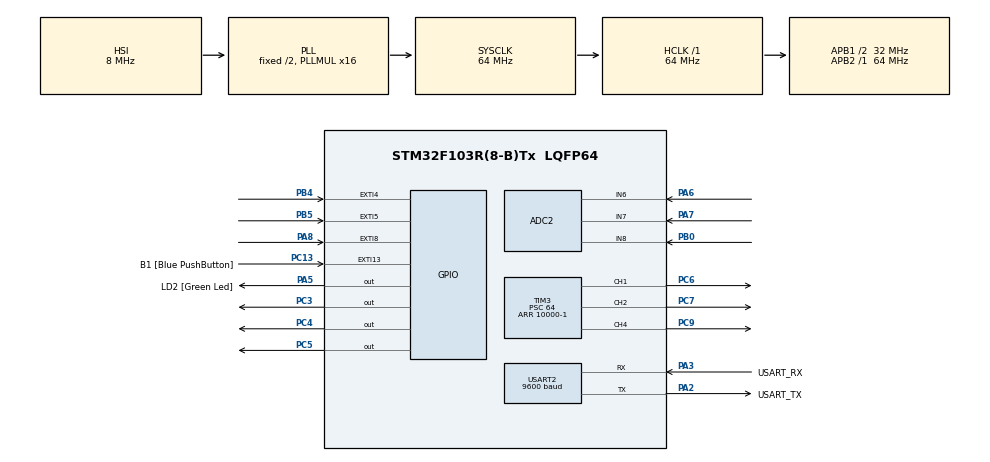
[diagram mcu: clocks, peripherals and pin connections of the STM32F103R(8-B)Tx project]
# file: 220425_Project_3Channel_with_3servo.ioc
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ADC2.Channel-0\#ChannelRegularConversion=ADC_CHANNEL_6
ADC2.Channel-1\#ChannelRegularConversion=ADC_CHANNEL_7
ADC2.Channel-2\#ChannelRegularConversion=ADC_CHANNEL_8
ADC2.DiscontinuousConvMode=ENABLE
ADC2.NbrOfConversion=3
ADC2.NbrOfConversionFlag=1
ADC2.Rank-0\#ChannelRegularConversion=1
ADC2.Rank-1\#ChannelRegularConversion=2
ADC2.Rank-2\#ChannelRegularConversion=3
ADC2.SamplingTime-0\#ChannelRegularConversion=ADC_SAMPLETIME_239CYCLES_5
ADC2.SamplingTime-1\#ChannelRegularConversion=ADC_SAMPLETIME_239CYCLES_5
ADC2.SamplingTime-2\#ChannelRegularConversion=ADC_SAMPLETIME_239CYCLES_5
Mcu.Family=STM32F1
Mcu.Name=STM32F103R(8-B)Tx
Mcu.Package=LQFP64
NVIC.EXTI15_10_IRQn=true\:0\:0\:false\:false\:true\:true\:true\:true
NVIC.EXTI4_IRQn=true\:0\:0\:false\:false\:true\:true\:true\:true
NVIC.EXTI9_5_IRQn=true\:0\:0\:false\:false\:true\:true\:true\:true
NVIC.PriorityGroup=NVIC_PRIORITYGROUP_4
PA13.GPIO_Label=TMS
PA13.Mode=Serial_Wire
PA13.Signal=SYS_JTMS-SWDIO
PA14.GPIO_Label=TCK
PA14.Mode=Serial_Wire
PA14.Signal=SYS_JTCK-SWCLK
PA2.GPIO_Label=USART_TX
PA2.GPIO_Mode=GPIO_MODE_AF_PP
PA2.GPIO_PuPd=GPIO_NOPULL
PA2.GPIO_Speed=GPIO_SPEED_FREQ_LOW
PA2.Mode=Asynchronous
PA2.Signal=USART2_TX
PA3.GPIO_Label=USART_RX
PA3.GPIO_Mode=GPIO_MODE_AF_PP
PA3.GPIO_PuPd=GPIO_NOPULL
PA3.GPIO_Speed=GPIO_SPEED_FREQ_LOW
PA3.Mode=Asynchronous
PA3.Signal=USART2_RX
PA5.GPIO_Label=LD2 [Green Led]
PA5.GPIO_ModeDefaultOutputPP=GPIO_MODE_OUTPUT_PP
PA5.GPIO_PuPd=GPIO_NOPULL
PA5.GPIO_Speed=GPIO_SPEED_FREQ_LOW
PA5.Signal=GPIO_Output
PA6.Signal=ADCx_IN6
PA7.Signal=ADCx_IN7
PA8.Signal=GPXTI8
PB0.Signal=ADCx_IN8
PB3.GPIO_Label=SWO
PB3.Signal=SYS_JTDO-TRACESWO
PB4.Signal=GPXTI4
PB5.Signal=GPXTI5
PC13-TAMPER-RTC.GPIO_Label=B1 [Blue PushButton]
PC13-TAMPER-RTC.GPIO_PuPd=GPIO_NOPULL
PC13-TAMPER-RTC.Signal=GPXTI13
PC14-OSC32_IN.Mode=LSE-External-Oscillator
PC14-OSC32_IN.Signal=RCC_OSC32_IN
PC15-OSC32_OUT.Mode=LSE-External-Oscillator
PC15-OSC32_OUT.Signal=RCC_OSC32_OUT
PC3.Signal=GPIO_Output
PC4.Signal=GPIO_Output
PC5.Signal=GPIO_Output
PC6.Signal=S_TIM3_CH1
PC7.Signal=S_TIM3_CH2
PC9.Signal=S_TIM3_CH4
PD0-OSC_IN.Mode=HSE-External-Clock-Source
PD0-OSC_IN.Signal=RCC_OSC_IN
PD1-OSC_OUT.Mode=HSE-External-Clock-Source
PD1-OSC_OUT.Signal=RCC_OSC_OUT
ProjectManager.HeapSize=0x200
ProjectManager.StackSize=0x400
ProjectManager.TargetToolchain=STM32CubeIDE
RCC.ADCPresc=RCC_ADCPCLK2_DIV8
RCC.AHBFreq_Value=64000000
RCC.APB1CLKDivider=RCC_HCLK_DIV2
RCC.APB1Freq_Value=32000000
RCC.APB1TimFreq_Value=64000000
RCC.APB2Freq_Value=64000000
RCC.APB2TimFreq_Value=64000000
RCC.HCLKFreq_Value=64000000
RCC.PLLMUL=RCC_PLL_MUL16
RCC.RTCClockSelection=RCC_RTCCLKSOURCE_LSE
RCC.SYSCLKFreq_VALUE=64000000
RCC.SYSCLKSource=RCC_SYSCLKSOURCE_PLLCLK
RCC.USBFreq_Value=64000000
SH.ADCx_IN6.0=ADC2_IN6,IN6
SH.ADCx_IN7.0=ADC2_IN7,IN7
SH.ADCx_IN8.0=ADC2_IN8,IN8
SH.S_TIM3_CH1.0=TIM3_CH1,PWM Generation1 CH1
SH.S_TIM3_CH2.0=TIM3_CH2,PWM Generation2 CH2
SH.S_TIM3_CH4.0=TIM3_CH4,PWM Generation4 CH4
TIM3.Channel-PWM\ Generation1\ CH1=TIM_CHANNEL_1
TIM3.Channel-PWM\ Generation2\ CH2=TIM_CHANNEL_2
TIM3.Channel-PWM\ Generation4\ CH4=TIM_CHANNEL_4
TIM3.Period=10000-1
TIM3.Prescaler=64
TIM3.Pulse-PWM\ Generation1\ CH1=1500
TIM3.Pulse-PWM\ Generation2\ CH2=1500
TIM3.Pulse-PWM\ Generation4\ CH4=1500
USART2.BaudRate=9600
USART2.VirtualMode=VM_ASYNC
board=NUCLEO-F103RB

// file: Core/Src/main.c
/* USER CODE BEGIN Header */
/**
  ******************************************************************************
  * @file           : main.c
  * @brief          : Main program body
  ******************************************************************************
  * @attention
  *
  * Copyright (c) 2022 STMicroelectronics.
  * All rights reserved.
  *
  * This software is licensed under terms that can be found in the LICENSE file
  * in the root directory of this software component.
  * If no LICENSE file comes with this software, it is provided AS-IS.
  *
  ******************************************************************************
  */
/* USER CODE END Header */
#include "main.h"

/* USER CODE BEGIN Includes */
#include "stdio.h"
/* USER CODE END Includes */

/* USER CODE BEGIN PTD */
#ifdef __GNUC__
/* With GCC, small printf (option LD Linker->Libraries->Small printf
   set to 'Yes') calls __io_putchar() */
#define PUTCHAR_PROTOTYPE int __io_putchar(int ch)
#else
#define PUTCHAR_PROTOTYPE int fputc(int ch, FILE *f)
#endif /* __GNUC__ */
/* USER CODE END PTD */

 ADC_HandleTypeDef hadc2;

TIM_HandleTypeDef htim3;

UART_HandleTypeDef huart2;

void SystemClock_Config(void);
static void MX_GPIO_Init(void);
static void MX_USART2_UART_Init(void);
static void MX_ADC2_Init(void);
static void MX_TIM3_Init(void);

/* USER CODE BEGIN 0 */
int state[3][1000] = {0};
int compare = 0;
int idx = 0;
int angle1 = 0;
int angle2 = 0;
int angle3 = 0;
int preVal1;
int preVal2;
int preVal3;

/* USER CODE END 0 */

int main(void)
{
  /* USER CODE BEGIN 1 */
	uint32_t adcResult1 = 0;
	uint32_t adcResult2 = 0;
	uint32_t adcResult3 = 0;
  /* USER CODE END 1 */

  /* MCU Configuration--------------------------------------------------------*/

  /* Reset of all peripherals, Initializes the Flash interface and the Systick. */
  HAL_Init();

  /* Configure the system clock */
  SystemClock_Config();

  /* Initialize all configured peripherals */
  MX_GPIO_Init();
  MX_USART2_UART_Init();
  MX_ADC2_Init();
  MX_TIM3_Init();
  /* USER CODE BEGIN 2 */
  HAL_TIM_PWM_Start(&htim3, TIM_CHANNEL_2);
  HAL_TIM_PWM_Start(&htim3, TIM_CHANNEL_1);
  HAL_TIM_PWM_Start(&htim3, TIM_CHANNEL_4);
  /* USER CODE END 2 */

  /* Infinite loop */
  /* USER CODE BEGIN WHILE */
  while (1)
    {
  	  	  if(compare ==0){
  	  		  if(state[0][0] >0){
  	  			  for(int jdx= 0 ; jdx<3; jdx++){

  	  				  for(int kdx = 0; kdx<1000; kdx++){
  	  					state[jdx][kdx] = -1;
  	  				  }
  	  			  }
  	  			  idx = 0;
  	  		  }

  	  		  HAL_ADC_Start(&hadc2);
  	  		  HAL_ADC_PollForConversion(&hadc2, 100);
  	  		  int nowVal1 = HAL_ADC_GetValue(&hadc2)*20/12;
  	  		  if(nowVal1 >=preVal1+ 10 ||nowVal1 <=preVal1- 10) 	preVal1 = HAL_ADC_GetValue(&hadc2)*20/12;
  	  		  adcResult1 = preVal1;

  	  		  HAL_ADC_Start(&hadc2);
  	  		  HAL_ADC_PollForConversion(&hadc2, 100);
  	  		  int nowVal2 = HAL_ADC_GetValue(&hadc2)*20/12;
  	  		  if(nowVal2 >=preVal2+ 10 ||nowVal2 <=preVal2- 10)  	preVal2 = HAL_ADC_GetValue(&hadc2)*20/12;
  	  		  adcResult2 = preVal2;

  	  		  HAL_ADC_Start(&hadc2);
  	  		  HAL_ADC_PollForConversion(&hadc2, 100);
  	  		  int nowVal3 = HAL_ADC_GetValue(&hadc2)*20/12;
  	  		  if(nowVal3 >=preVal3+ 10 ||nowVal3 <=preVal3- 10)  	preVal3 = HAL_ADC_GetValue(&hadc2)*20/12;
  	  		  adcResult3 = preVal3;

  	  		  if(adcResult1<1024) 	 angle1 = 1500-(1024-adcResult1);
  	  		  else	  	  			 angle1 = 1500 + adcResult1-1024;

  	  		  if(adcResult2<1024)	 angle2 = 1500-(1024-adcResult2);
  	  		  else					 angle2 = 1500 + adcResult2-1024;

  	  		  if(adcResult3<1024)	 angle3 = 1500-(1024-adcResult3);
  	  		  else	  				 angle3 = 1500 + adcResult3-1024;

  	  		  htim3.Instance->CCR2 = angle1;
  	  		  htim3.Instance->CCR1 = angle2;
			  htim3.Instance->CCR4 = angle3;

			  printf("angle 1 : %d        angle 2 : %d		angle 3 : %d\n\r",angle1,angle2,angle3);
  	  	  }

  	  	  else if(compare ==1){
  	  		  HAL_ADC_Start(&hadc2);
  	  		  HAL_ADC_PollForConversion(&hadc2, 100);
  	  		  int nowVal1 = HAL_ADC_GetValue(&hadc2)*20/12;
  	  		  if(nowVal1 >=preVal1+ 10 ||nowVal1 <=preVal1- 10) 	preVal1 = HAL_ADC_GetValue(&hadc2)*20/12;
  	  		  adcResult1 = preVal1;

  	  		  HAL_ADC_Start(&hadc2);
  	  		  HAL_ADC_PollForConversion(&hadc2, 100);
  	  		  int nowVal2 = HAL_ADC_GetValue(&hadc2)*20/12;
  	  		  if(nowVal2 >=preVal2+ 10 ||nowVal2 <=preVal2- 10)  	preVal2 = HAL_ADC_GetValue(&hadc2)*20/12;
  	  		  adcResult2 = preVal2;

  	  		  HAL_ADC_Start(&hadc2);
  	  		  HAL_ADC_PollForConversion(&hadc2, 100);
  	  		  int nowVal3 = HAL_ADC_GetValue(&hadc2)*20/12;
  	  		  if(nowVal3 >=preVal3+ 10 ||nowVal3 <=preVal3- 10)  	preVal3 = HAL_ADC_GetValue(&hadc2)*20/12;
  	  		  adcResult3 = preVal3;

  	  		  if(adcResult1<1024) 	 angle1 = 1500-(1024-adcResult1);
  	  		  else	  	  			 angle1 = 1500 + adcResult1-1024;

  	  		  if(adcResult2<1024)	 angle2 = 1500-(1024-adcResult2);
  	  		  else					 angle2 = 1500 + adcResult2-1024;

  	  		  if(adcResult3<1024)	 angle3 = 1500-(1024-adcResult3);
  	  		  else	  				 angle3 = 1500 + adcResult3-1024;

  	  		  htim3.Instance->CCR2 = angle1;
  	  		  htim3.Instance->CCR1 = angle2;
  	  		  htim3.Instance->CCR4 = angle3;
  	  		  printf("store....\n\r\n\r");

  	  		  state[0][idx]= angle1;
  	  		  state[1][idx]= angle2;
  	  		  state[2][idx++]= angle3;

  	  	 	  HAL_Delay(50);
  	  	  }

  	  	  else if(compare ==2){
  	  		  for(int jdx = 0; jdx< idx; jdx++){
  	  			  printf("replay....\n\r\n\r");
  	  			  htim3.Instance->CCR2 = state[0][jdx];
  	  			  htim3.Instance->CCR1 = state[1][jdx];
  	  			  htim3.Instance->CCR4 = state[2][jdx];
  	  			  HAL_Delay(50);
  	  		  }
  	  	  }
    /* USER CODE END WHILE */

    }
}

void SystemClock_Config(void)
{
  RCC_OscInitTypeDef RCC_OscInitStruct = {0};
  RCC_ClkInitTypeDef RCC_ClkInitStruct = {0};
  RCC_PeriphCLKInitTypeDef PeriphClkInit = {0};

  /** Initializes the RCC Oscillators according to the specified parameters
  * in the RCC_OscInitTypeDef structure.
  */
  RCC_OscInitStruct.OscillatorType = RCC_OSCILLATORTYPE_HSI;
  RCC_OscInitStruct.HSIState = RCC_HSI_ON;
  RCC_OscInitStruct.HSICalibrationValue = RCC_HSICALIBRATION_DEFAULT;
  RCC_OscInitStruct.PLL.PLLState = RCC_PLL_ON;
  RCC_OscInitStruct.PLL.PLLSource = RCC_PLLSOURCE_HSI_DIV2;
  RCC_OscInitStruct.PLL.PLLMUL = RCC_PLL_MUL16;
  if (HAL_RCC_OscConfig(&RCC_OscInitStruct) != HAL_OK)
  {
    Error_Handler();
  }

  /** Initializes the CPU, AHB and APB buses clocks
  */
  RCC_ClkInitStruct.ClockType = RCC_CLOCKTYPE_HCLK|RCC_CLOCKTYPE_SYSCLK
                              |RCC_CLOCKTYPE_PCLK1|RCC_CLOCKTYPE_PCLK2;
  RCC_ClkInitStruct.SYSCLKSource = RCC_SYSCLKSOURCE_PLLCLK;
  RCC_ClkInitStruct.AHBCLKDivider = RCC_SYSCLK_DIV1;
  RCC_ClkInitStruct.APB1CLKDivider = RCC_HCLK_DIV2;
  RCC_ClkInitStruct.APB2CLKDivider = RCC_HCLK_DIV1;

  if (HAL_RCC_ClockConfig(&RCC_ClkInitStruct, FLASH_LATENCY_2) != HAL_OK)
  {
    Error_Handler();
  }
  PeriphClkInit.PeriphClockSelection = RCC_PERIPHCLK_ADC;
  PeriphClkInit.AdcClockSelection = RCC_ADCPCLK2_DIV8;
  if (HAL_RCCEx_PeriphCLKConfig(&PeriphClkInit) != HAL_OK)
  {
    Error_Handler();
  }
}

static void MX_ADC2_Init(void)
{

  ADC_ChannelConfTypeDef sConfig = {0};

  /** Common config
  */
  hadc2.Instance = ADC2;
  hadc2.Init.ScanConvMode = ADC_SCAN_ENABLE;
  hadc2.Init.ContinuousConvMode = DISABLE;
  hadc2.Init.DiscontinuousConvMode = ENABLE;
  hadc2.Init.NbrOfDiscConversion = 1;
  hadc2.Init.ExternalTrigConv = ADC_SOFTWARE_START;
  hadc2.Init.DataAlign = ADC_DATAALIGN_RIGHT;
  hadc2.Init.NbrOfConversion = 3;
  if (HAL_ADC_Init(&hadc2) != HAL_OK)
  {
    Error_Handler();
  }

  /** Configure Regular Channel
  */
  sConfig.Channel = ADC_CHANNEL_6;
  sConfig.Rank = ADC_REGULAR_RANK_1;
  sConfig.SamplingTime = ADC_SAMPLETIME_239CYCLES_5;
  if (HAL_ADC_ConfigChannel(&hadc2, &sConfig) != HAL_OK)
  {
    Error_Handler();
  }

  /** Configure Regular Channel
  */
  sConfig.Channel = ADC_CHANNEL_7;
  sConfig.Rank = ADC_REGULAR_RANK_2;
  if (HAL_ADC_ConfigChannel(&hadc2, &sConfig) != HAL_OK)
  {
    Error_Handler();
  }

  /** Configure Regular Channel
  */
  sConfig.Channel = ADC_CHANNEL_8;
  sConfig.Rank = ADC_REGULAR_RANK_3;
  if (HAL_ADC_ConfigChannel(&hadc2, &sConfig) != HAL_OK)
  {
    Error_Handler();
  }

}

static void MX_TIM3_Init(void)
{

  TIM_MasterConfigTypeDef sMasterConfig = {0};
  TIM_OC_InitTypeDef sConfigOC = {0};

  htim3.Instance = TIM3;
  htim3.Init.Prescaler = 64;
  htim3.Init.CounterMode = TIM_COUNTERMODE_UP;
  htim3.Init.Period = 10000-1;
  htim3.Init.ClockDivision = TIM_CLOCKDIVISION_DIV1;
  htim3.Init.AutoReloadPreload = TIM_AUTORELOAD_PRELOAD_DISABLE;
  if (HAL_TIM_PWM_Init(&htim3) != HAL_OK)
  {
    Error_Handler();
  }
  sMasterConfig.MasterOutputTrigger = TIM_TRGO_RESET;
  sMasterConfig.MasterSlaveMode = TIM_MASTERSLAVEMODE_DISABLE;
  if (HAL_TIMEx_MasterConfigSynchronization(&htim3, &sMasterConfig) != HAL_OK)
  {
    Error_Handler();
  }
  sConfigOC.OCMode = TIM_OCMODE_PWM1;
  sConfigOC.Pulse = 1500;
  sConfigOC.OCPolarity = TIM_OCPOLARITY_HIGH;
  sConfigOC.OCFastMode = TIM_OCFAST_DISABLE;
  if (HAL_TIM_PWM_ConfigChannel(&htim3, &sConfigOC, TIM_CHANNEL_1) != HAL_OK)
  {
    Error_Handler();
  }
  if (HAL_TIM_PWM_ConfigChannel(&htim3, &sConfigOC, TIM_CHANNEL_2) != HAL_OK)
  {
    Error_Handler();
  }
  if (HAL_TIM_PWM_ConfigChannel(&htim3, &sConfigOC, TIM_CHANNEL_4) != HAL_OK)
  {
    Error_Handler();
  }
  HAL_TIM_MspPostInit(&htim3);

}

static void MX_USART2_UART_Init(void)
{

  huart2.Instance = USART2;
  huart2.Init.BaudRate = 9600;
  huart2.Init.WordLength = UART_WORDLENGTH_8B;
  huart2.Init.StopBits = UART_STOPBITS_1;
  huart2.Init.Parity = UART_PARITY_NONE;
  huart2.Init.Mode = UART_MODE_TX_RX;
  huart2.Init.HwFlowCtl = UART_HWCONTROL_NONE;
  huart2.Init.OverSampling = UART_OVERSAMPLING_16;
  if (HAL_UART_Init(&huart2) != HAL_OK)
  {
    Error_Handler();
  }

}

static void MX_GPIO_Init(void)
{
  GPIO_InitTypeDef GPIO_InitStruct = {0};

  /* GPIO Ports Clock Enable */
  __HAL_RCC_GPIOC_CLK_ENABLE();
  __HAL_RCC_GPIOD_CLK_ENABLE();
  __HAL_RCC_GPIOA_CLK_ENABLE();
  __HAL_RCC_GPIOB_CLK_ENABLE();

  /*Configure GPIO pin Output Level */
  HAL_GPIO_WritePin(GPIOC, GPIO_PIN_3|GPIO_PIN_4|GPIO_PIN_5, GPIO_PIN_RESET);

  /*Configure GPIO pin Output Level */
  HAL_GPIO_WritePin(LD2_GPIO_Port, LD2_Pin, GPIO_PIN_RESET);

  /*Configure GPIO pin : B1_Pin */
  GPIO_InitStruct.Pin = B1_Pin;
  GPIO_InitStruct.Mode = GPIO_MODE_IT_RISING;
  GPIO_InitStruct.Pull = GPIO_NOPULL;
  HAL_GPIO_Init(B1_GPIO_Port, &GPIO_InitStruct);

  /*Configure GPIO pins : PC3 PC4 PC5 */
  GPIO_InitStruct.Pin = GPIO_PIN_3|GPIO_PIN_4|GPIO_PIN_5;
  GPIO_InitStruct.Mode = GPIO_MODE_OUTPUT_PP;
  GPIO_InitStruct.Pull = GPIO_NOPULL;
  GPIO_InitStruct.Speed = GPIO_SPEED_FREQ_LOW;
  HAL_GPIO_Init(GPIOC, &GPIO_InitStruct);

  /*Configure GPIO pin : LD2_Pin */
  GPIO_InitStruct.Pin = LD2_Pin;
  GPIO_InitStruct.Mode = GPIO_MODE_OUTPUT_PP;
  GPIO_InitStruct.Pull = GPIO_NOPULL;
  GPIO_InitStruct.Speed = GPIO_SPEED_FREQ_LOW;
  HAL_GPIO_Init(LD2_GPIO_Port, &GPIO_InitStruct);

  /*Configure GPIO pin : PA8 */
  GPIO_InitStruct.Pin = GPIO_PIN_8;
  GPIO_InitStruct.Mode = GPIO_MODE_IT_RISING;
  GPIO_InitStruct.Pull = GPIO_NOPULL;
  HAL_GPIO_Init(GPIOA, &GPIO_InitStruct);

  /*Configure GPIO pins : PB4 PB5 */
  GPIO_InitStruct.Pin = GPIO_PIN_4|GPIO_PIN_5;
  GPIO_InitStruct.Mode = GPIO_MODE_IT_RISING;
  GPIO_InitStruct.Pull = GPIO_NOPULL;
  HAL_GPIO_Init(GPIOB, &GPIO_InitStruct);

  /* EXTI interrupt init*/
  HAL_NVIC_SetPriority(EXTI4_IRQn, 0, 0);
  HAL_NVIC_EnableIRQ(EXTI4_IRQn);

  HAL_NVIC_SetPriority(EXTI9_5_IRQn, 0, 0);
  HAL_NVIC_EnableIRQ(EXTI9_5_IRQn);

  HAL_NVIC_SetPriority(EXTI15_10_IRQn, 0, 0);
  HAL_NVIC_EnableIRQ(EXTI15_10_IRQn);

}

/* USER CODE BEGIN 4 */
PUTCHAR_PROTOTYPE
{
  /* Place your implementation of fputc here */
  /* e.g. write a character to the USART1 and Loop until the end of transmission */
  HAL_UART_Transmit(&huart2,(uint8_t *)&ch, 1, 0xFFFF);

  return ch;
}

void HAL_GPIO_EXTI_Callback(uint16_t GPIO_Pin){

	if(GPIO_Pin == GPIO_PIN_8){
		compare =0;
		HAL_GPIO_WritePin(GPIOC,GPIO_PIN_3,GPIO_PIN_SET);
		HAL_GPIO_WritePin(GPIOC,GPIO_PIN_4,GPIO_PIN_RESET);
		HAL_GPIO_WritePin(GPIOC,GPIO_PIN_5,GPIO_PIN_RESET);
	}
	if(GPIO_Pin == GPIO_PIN_4){
		compare = 1;
		HAL_GPIO_WritePin(GPIOC,GPIO_PIN_3,GPIO_PIN_RESET);
		HAL_GPIO_WritePin(GPIOC,GPIO_PIN_4,GPIO_PIN_SET);
		HAL_GPIO_WritePin(GPIOC,GPIO_PIN_5,GPIO_PIN_RESET);
	}
	if(GPIO_Pin == GPIO_PIN_5){
		compare = 2;
		HAL_GPIO_WritePin(GPIOC,GPIO_PIN_3,GPIO_PIN_RESET);
		HAL_GPIO_WritePin(GPIOC,GPIO_PIN_4,GPIO_PIN_RESET);
		HAL_GPIO_WritePin(GPIOC,GPIO_PIN_5,GPIO_PIN_SET);
	}
}
/* USER CODE END 4 */

void Error_Handler(void)
{
  __disable_irq();
  while (1)
  {
  }
}
